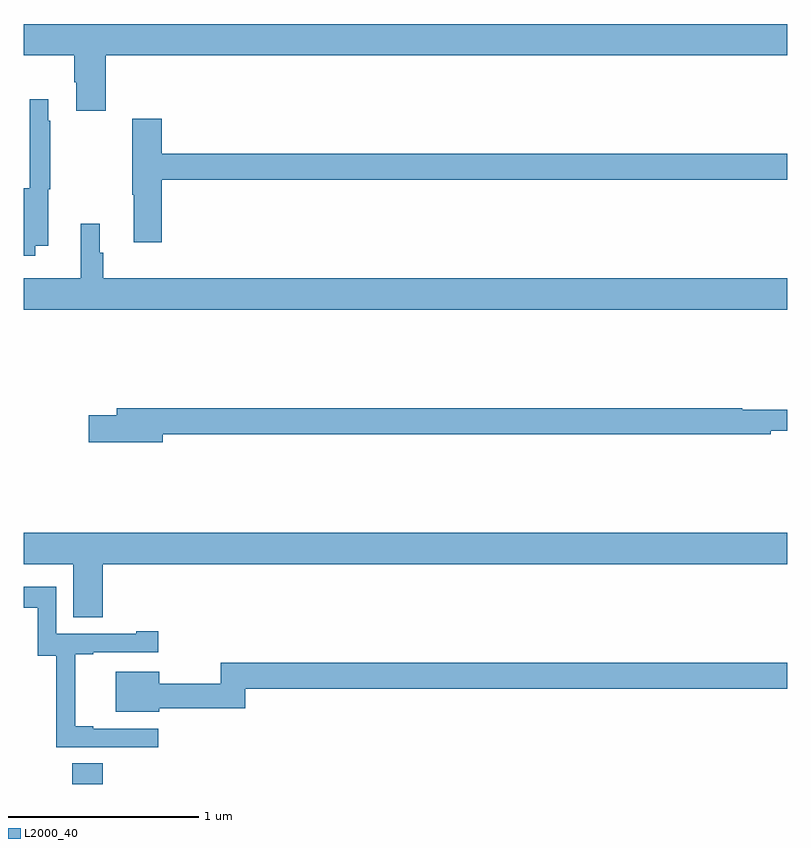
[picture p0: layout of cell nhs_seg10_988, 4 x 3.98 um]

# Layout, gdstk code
import gdstk
lib = gdstk.Library(unit=1e-6, precision=1e-09)
def R(c, l, rs):  # rectangles x0, y0, x1, y1
    for r in rs: c.add(gdstk.rectangle(r[:2], r[2:], *l))
def P(c, l, *ps):  # polygons
    for p in ps: c.add(gdstk.Polygon(p, *l))
L2000_40 = (2000, 40)

nhs_seg10_988 = lib.new_cell('nhs_seg10_988')
R(nhs_seg10_988, L2000_40, [(161.254,1296.5,161.414,1296.608)])
P(nhs_seg10_988, L2000_40, [(161.429,1300.316),(165,1300.316),(165,1300.48),(161,1300.48),(161,1300.316),(161.264,1300.316),(161.264,1300.174),(161.276,1300.174),(161.276,1300.026),(161.429,1300.026)],
  [(161.062,1299.32),(161.128,1299.32),(161.128,1299.615),(161.14,1299.615),(161.14,1299.974),(161.128,1299.974),(161.128,1300.087),(161.031,1300.087),(161.031,1299.619),(161,1299.619),(161,1299.267),(161.062,1299.267)],
  [(161.723,1299.664),(165,1299.664),(165,1299.8),(161.723,1299.8),(161.723,1299.985),(161.569,1299.985),(161.569,1299.587),(161.576,1299.587),(161.576,1299.336),(161.723,1299.336)],
  [(165,1299.148),(161.417,1299.148),(161.417,1299.282),(161.398,1299.282),(161.398,1299.433),(161.299,1299.433),(161.299,1299.148),(161,1299.148),(161,1298.984),(165,1298.984)],
  [(161.728,1298.332),(164.912,1298.332),(164.912,1298.351),(165,1298.351),(165,1298.461),(164.764,1298.461),(164.764,1298.468),(161.489,1298.468),(161.489,1298.432),(161.34,1298.432),(161.34,1298.29),(161.728,1298.29)],
  [(161.414,1297.652),(165,1297.652),(165,1297.816),(161,1297.816),(161,1297.652),(161.261,1297.652),(161.261,1297.372),(161.414,1297.372)],
  [(161.704,1296.789),(161.365,1296.789),(161.365,1296.802),(161.27,1296.802),(161.27,1297.179),(161.365,1297.179),(161.365,1297.191),(161.704,1297.191),(161.704,1297.3),(161.591,1297.3),(161.591,1297.287),(161.172,1297.287),(161.172,1297.533),(161,1297.533),(161,1297.422),(161.075,1297.422),(161.075,1297.171),(161.17,1297.171),(161.17,1296.693),(161.704,1296.693)],
  [(161.71,1296.897),(162.161,1296.897),(162.161,1297),(165,1297),(165,1297.136),(162.033,1297.136),(162.033,1297.025),(161.71,1297.025),(161.71,1297.087),(161.483,1297.087),(161.483,1296.878),(161.71,1296.878)])

lib.write_gds('nhs_seg10_988.gds')
